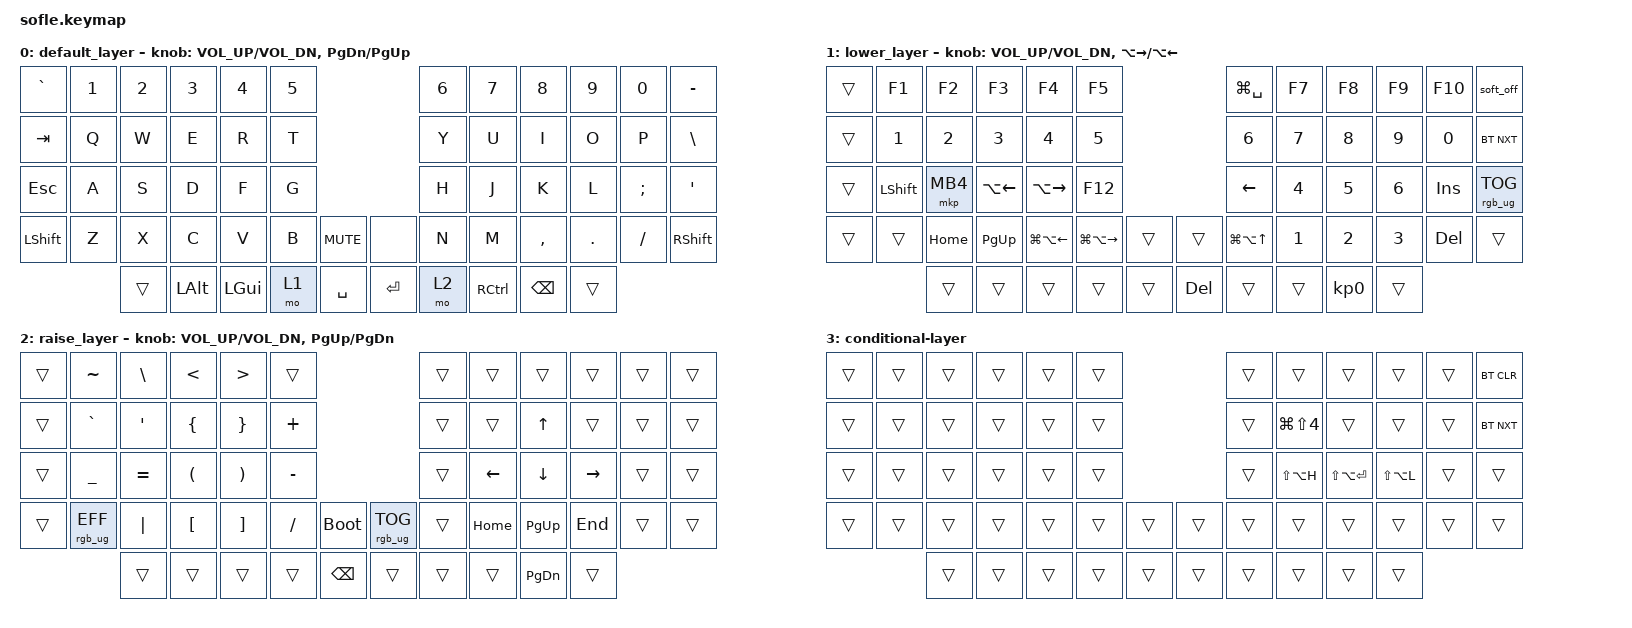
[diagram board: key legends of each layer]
/*
 * Copyright (c) 2020 The ZMK Contributors
 *
 * SPDX-License-Identifier: MIT
 */

#include <behaviors.dtsi>
#include <dt-bindings/zmk/bt.h>
#include <dt-bindings/zmk/keys.h>
#include <dt-bindings/zmk/pointing.h>
#include <dt-bindings/zmk/rgb.h>

&caps_word { continue-list = <UNDERSCORE MINUS>; };

&led_strip { chain-length = <35>; };

&left_encoder { resolution = <2>; };

/ {
    keymap {
        compatible = "zmk,keymap";

        default_layer {


            bindings = <
&kp GRAVE  &kp N1  &kp N2  &kp N3    &kp N4        &kp N5                           &kp N6  &kp N7     &kp N8         &kp N9   &kp N0    &kp MINUS
&kp TAB    &kp Q   &kp W   &kp E     &kp R         &kp T                            &kp Y   &kp U      &kp I          &kp O    &kp P     &kp BACKSLASH
&kp ESC    &kp A   &kp S   &kp D     &kp F         &kp G                            &kp H   &kp J      &kp K          &kp L    &kp SEMI  &kp SQT
&kp LSHFT  &kp Z   &kp X   &kp C     &kp V         &kp B   &kp C_MUTE    &none      &kp N   &kp M      &kp COMMA      &kp DOT  &kp FSLH  &kp RSHFT
                   &trans  &kp LALT  &kp LEFT_GUI  &mo 1   &kp SPACE     &kp ENTER  &mo 2   &kp RCTRL  &kp BACKSPACE  &trans
            >;

            sensor-bindings =
                <&inc_dec_kp C_VOL_UP C_VOL_DN>,
                <&inc_dec_kp PAGE_DOWN PAGE_UP>;
        };

        lower_layer {


            bindings = <
&trans  &kp F1          &kp F2    &kp F3              &kp F4                  &kp F5                                         &kp LG(SPACE)         &kp F7        &kp F8           &kp F9        &kp F10  &soft_off
&trans  &kp N1          &kp N2    &kp N3              &kp N4                  &kp N5                                         &kp N6                &kp N7        &kp N8           &kp N9        &kp N0   &bt BT_NXT
&trans  &kp LEFT_SHIFT  &mkp MB4  &kp LA(LEFT_ARROW)  &kp LA(RIGHT)           &kp F12                                        &kp LEFT              &kp NUMBER_4  &kp NUMBER_5     &kp NUMBER_6  &kp INS  &rgb_ug RGB_TOG
&trans  &trans          &kp HOME  &kp PG_UP           &kp LG(LA(LEFT_ARROW))  &kp LG(LA(RIGHT_ARROW))  &trans    &trans      &kp LG(LA(UP_ARROW))  &kp NUMBER_1  &kp NUMBER_2     &kp NUMBER_3  &kp DEL  &trans
                        &trans    &trans              &trans                  &trans                   &trans    &kp DELETE  &trans                &trans        &kp KP_NUMBER_0  &trans
            >;

            sensor-bindings =
                <&inc_dec_kp C_VOL_UP C_VOL_DN>,
                <&inc_dec_kp LA(RIGHT_ARROW) LA(LEFT_ARROW)>;
        };

        raise_layer {


            bindings = <
&trans  &kp TILDE        &kp BACKSLASH     &kp LESS_THAN         &kp GREATER_THAN       &trans                                       &trans  &trans          &trans          &trans           &trans  &trans
&trans  &kp GRAVE        &kp SINGLE_QUOTE  &kp LEFT_BRACE        &kp RIGHT_BRACE        &kp PLUS                                     &trans  &trans          &kp UP_ARROW    &trans           &trans  &trans
&trans  &kp UNDERSCORE   &kp EQUAL         &kp LEFT_PARENTHESIS  &kp RIGHT_PARENTHESIS  &kp MINUS                                    &trans  &kp LEFT_ARROW  &kp DOWN_ARROW  &kp RIGHT_ARROW  &trans  &trans
&trans  &rgb_ug RGB_EFF  &kp PIPE          &kp LEFT_BRACKET      &kp RIGHT_BRACKET      &kp SLASH  &bootloader      &rgb_ug RGB_TOG  &trans  &kp HOME        &kp PAGE_UP     &kp END          &trans  &trans
                         &trans            &trans                &trans                 &trans     &kp BACKSPACE    &trans           &trans  &trans          &kp PAGE_DOWN   &trans
            >;

            sensor-bindings = <&inc_dec_kp C_VOL_UP C_VOL_DN &inc_dec_kp PG_UP PG_DN>;
        };

        conditional-layer {
            bindings = <
&trans  &trans  &trans  &trans  &trans  &trans                    &trans  &trans                &trans             &trans         &trans  &bt BT_CLR
&trans  &trans  &trans  &trans  &trans  &trans                    &trans  &kp LG(LS(NUMBER_4))  &trans             &trans         &trans  &bt BT_NXT
&trans  &trans  &trans  &trans  &trans  &trans                    &trans  &kp LS(LA(H))         &kp LS(LA(ENTER))  &kp LS(LA(L))  &trans  &trans
&trans  &trans  &trans  &trans  &trans  &trans  &trans    &trans  &trans  &trans                &trans             &trans         &trans  &trans
                &trans  &trans  &trans  &trans  &trans    &trans  &trans  &trans                &trans             &trans
            >;
        };
    };

    conditional_layers {
        compatible = "zmk,conditional-layers";

        last-layer {
            if-layers = <1 2>;
            then-layer = <3>;
        };
    };
};
